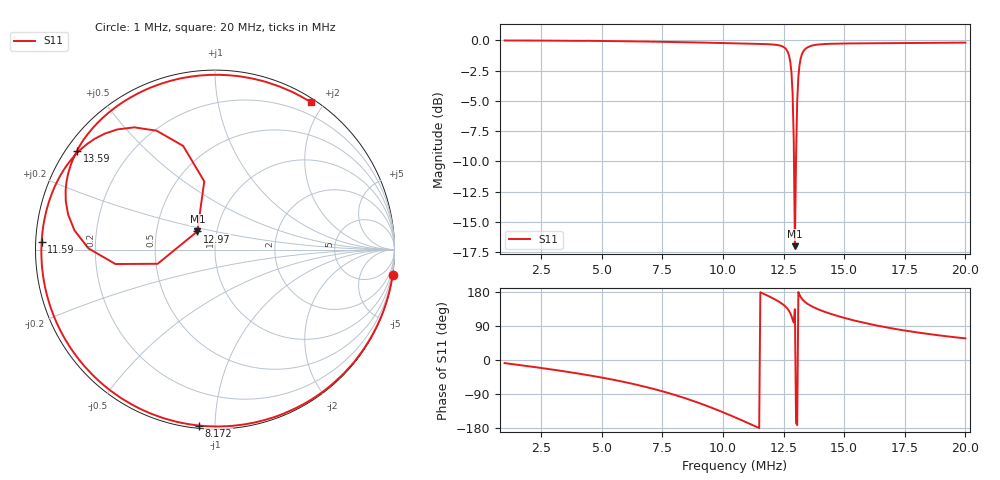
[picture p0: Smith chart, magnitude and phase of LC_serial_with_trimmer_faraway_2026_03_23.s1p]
# HZ S RI R 50
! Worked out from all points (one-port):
!   401 points, 1 MHz to 20 MHz, reference 50 ohm
!   lowest |S11| = -17.0 dB at 12.97 MHz (marker M1), VSWR 1.33, Z = 40.3 + j8.34 ohm
!   |S11| at or under -10 dB: 12.93 MHz to 13.02 MHz (83.47 kHz wide, 0.643 % of centre)
!   S11 on the Smith chart (normalised r, x): 1 MHz: 0, -14; 8.172 MHz: 0.01, -0.91; 11.59 MHz: 0.02, +0.02; 12.97 MHz: 0.81, +0.17; 13.59 MHz: 0.03, +0.32; 20 MHz: 0.05, +1.84
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1000000  0.9896 -0.1421
3375000  0.8717 -0.4845
5750000  0.5612 -0.8196
6937500  0.2906 -0.9457
8125000  -0.0738 -0.9817
8172500  -0.0898 -0.9802
9360000  -0.5129 -0.8337
1.05e7  -0.8528 -0.4677
1.107e7  -0.9459 -0.2135
1.15925e7  -0.966 0.0432
1.2115e7  -0.9089 0.3126
1.2495e7  -0.7782 0.5279
1.26375e7  -0.6701 0.6174
1.27325e7  -0.5438 0.6696
1.28275e7  -0.3254 0.6625
1.2875e7  -0.1773 0.5776
1.29225e7  -0.0598 0.3802
1.297e7  -0.0983 0.1014
1.3065e7  -0.5547 -0.0804
1.31125e7  -0.7054 0.00702
1.32075e7  -0.8186 0.1965
1.335e7  -0.8269 0.3811
1.35875e7  -0.7688 0.5509
1.42525e7  -0.5678 0.7828
1.525e7  -0.2835 0.9295
1.6295e7  -0.0287 0.9733
1.7625e7  0.2278 0.9486
2e7  0.5331 0.8215
